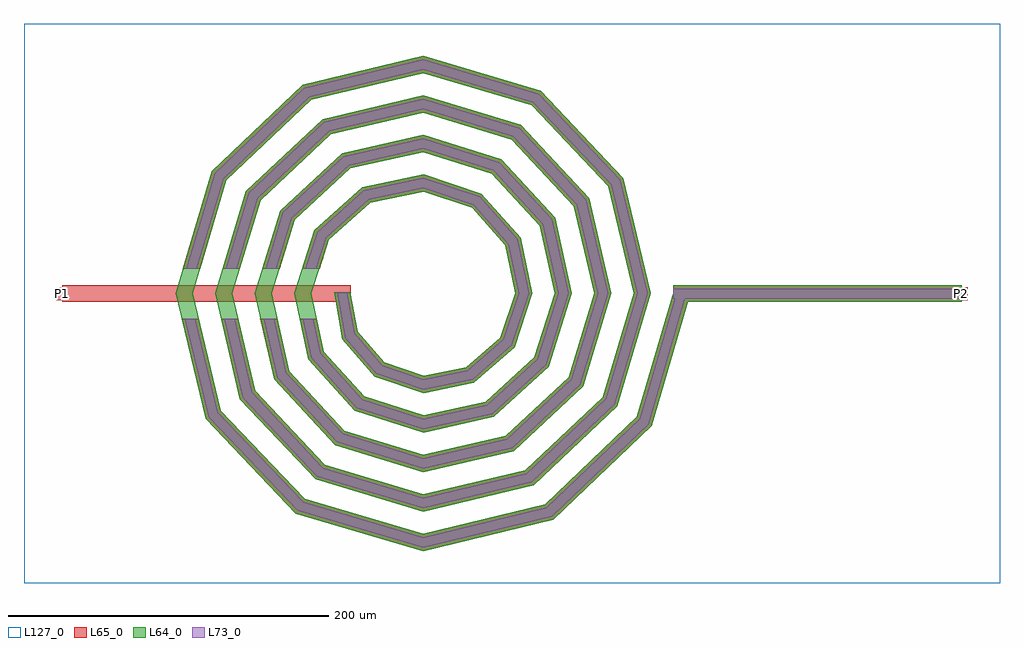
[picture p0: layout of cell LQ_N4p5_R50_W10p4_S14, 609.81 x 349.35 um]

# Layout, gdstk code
import gdstk
lib = gdstk.Library(unit=1e-6, precision=1e-09)
def R(c, l, rs):  # rectangles x0, y0, x1, y1
    for r in rs: c.add(gdstk.rectangle(r[:2], r[2:], *l))
def P(c, l, *ps):  # polygons
    for p in ps: c.add(gdstk.Polygon(p, *l))
L64_0 = (64, 0)
L65_0 = (65, 0)
L73_0 = (73, 0)
L127_0 = (127, 0)

lq_n4p5_r50_w10p4_s14 = lib.new_cell('LQ_N4p5_R50_W10p4_S14')
R(lq_n4p5_r50_w10p4_s14, L64_0, [(156.435,-5.2,336.435,5.2)])
P(lq_n4p5_r50_w10p4_s14, L64_0, [(-40.732,-23.969),(-24.331,-42.897),(0.364,-51.371),(27.018,-46.094),(48.22,-27.448),(57.539,0.328),(51.453,30.073),(30.559,53.546),(0.299,63.708),(-33.133,56.809),(-58.875,33.666),(-69.877,0.274),(-62.163,-36.198),(-36.77,-64.207),(0.254,-76.046),(39.265,-67.515),(69.541,-39.87),(82.216,0.236),(72.867,42.335),(42.969,74.875),(0.22,88.385),(-45.407,78.217),(-80.211,46.066),(-94.555,0.207),(-83.566,-48.481),(-49.162,-85.548),(0.195,-100.724),(51.556,-88.915),(90.886,-52.257),(106.894,0.184),(94.264,54.632),(55.35,96.224),(0.174,113.064),(-57.709,99.612),(-101.563,58.443),(-119.234,0.166),(-104.959,-60.786),(-61.534,-106.902),(0.158,-125.404),(63.865,-110.306),(112.241,-64.626),(131.573,0.151),(115.653,66.944),(67.717,117.581),(0.144,137.743),(-70.023,120.999),(-122.922,70.807),(-143.913,0.138),(-126.345,-73.103),(-73.897,-128.262),(0.133,-150.083),(76.183,-131.691),(133.603,-76.986),(156.646,1.465),(166.625,-1.465),(142.795,-82.592),(81.338,-141.144),(0.133,-160.847),(-79.512,-137.449),(-135.804,-78.249),(-154.677,0.138),(-132.103,76.432),(-75.159,130.463),(0.144,148.507),(73.352,126.756),(125.123,72.068),(142.337,0.151),(121.409,-70.273),(68.977,-119.782),(0.158,-136.166),(-67.194,-116.062),(-114.443,-65.885),(-129.996,0.166),(-110.714,64.116),(-62.793,109.103),(0.174,123.826),(61.038,105.366),(103.764,59.7),(117.656,0.184),(100.018,-57.962),(56.606,-98.426),(0.195,-111.485),(-54.886,-94.669),(-93.088,-53.51),(-105.315,0.207),(-89.318,51.812),(-50.414,87.75),(0.22,99.144),(48.739,83.968),(82.414,47.316),(92.974,0.236),(78.615,-45.667),(44.216,-77.078),(0.254,-86.803),(-42.598,-73.262),(-71.744,-41.113),(-80.632,0.274),(-67.907,39.532),(-38.008,66.411),(0.299,74.461),(36.468,62.549),(61.081,34.898),(68.289,0.328),(57.189,-33.41),(31.783,-55.752),(0.364,-62.117),(-30.356,-51.825),(-50.427,-28.662),(-55.683,0.97),(-45.465,0.97)])
R(lq_n4p5_r50_w10p4_s14, L65_0, [(-225.374,-5.2,-45.374,5.2), (156.435,-5.2,336.435,5.2), (-229.374,-4,-221.374,4), (332.435,-4,340.435,4)])
P(lq_n4p5_r50_w10p4_s14, L65_0, [(-126.345,-73.103),(-73.897,-128.262),(0.133,-150.083),(76.184,-131.691),(133.603,-76.986),(156.646,1.466),(166.625,-1.466),(142.795,-82.592),(81.338,-141.145),(0.133,-160.847),(-79.512,-137.449),(-135.804,-78.249),(-150.888,-15.6),(-140.191,-15.6)],
  [(-104.959,-60.786),(-61.535,-106.902),(0.158,-125.404),(63.865,-110.306),(112.241,-64.626),(131.573,0.151),(115.653,66.944),(67.717,117.581),(0.144,137.743),(-70.023,120.999),(-122.922,70.807),(-139.257,15.6),(-150.102,15.6),(-132.103,76.432),(-75.159,130.463),(0.144,148.507),(73.352,126.756),(125.123,72.068),(142.337,0.151),(121.409,-70.273),(68.977,-119.783),(0.158,-136.166),(-67.194,-116.062),(-114.443,-65.885),(-126.284,-15.6),(-115.599,-15.6)],
  [(-83.567,-48.481),(-49.162,-85.548),(0.195,-100.724),(51.556,-88.915),(90.886,-52.257),(106.894,0.184),(94.264,54.632),(55.35,96.224),(0.174,113.064),(-57.709,99.612),(-101.563,58.443),(-114.48,15.6),(-125.343,15.6),(-110.715,64.116),(-62.793,109.103),(0.174,123.826),(61.038,105.366),(103.764,59.7),(117.656,0.184),(100.018,-57.962),(56.606,-98.426),(0.195,-111.485),(-54.886,-94.669),(-93.088,-53.51),(-101.717,-15.6),(-91.051,-15.6)],
  [(-62.163,-36.198),(-36.77,-64.207),(0.254,-76.046),(39.266,-67.515),(69.541,-39.871),(82.216,0.236),(72.867,42.336),(42.969,74.875),(0.22,88.385),(-45.407,78.217),(-80.211,46.066),(-89.655,15.6),(-100.543,15.6),(-89.319,51.812),(-50.414,87.75),(0.22,99.144),(48.739,83.968),(82.414,47.316),(92.974,0.236),(78.616,-45.667),(44.216,-77.079),(0.254,-86.803),(-42.598,-73.262),(-71.744,-41.113),(-77.223,-15.6),(-66.586,-15.6)],
  [(-24.331,-42.897),(0.364,-51.371),(27.018,-46.094),(48.22,-27.448),(57.54,0.328),(51.453,30.073),(30.559,53.546),(0.299,63.708),(-33.133,56.809),(-58.875,33.666),(-64.731,15.6),(-75.664,15.6),(-67.907,39.532),(-38.008,66.411),(0.299,74.461),(36.468,62.549),(61.081,34.898),(68.289,0.328),(57.189,-33.41),(31.784,-55.752),(0.364,-62.117),(-30.357,-51.825),(-50.427,-28.662),(-55.683,0.97),(-45.465,0.97),(-40.732,-23.969)])
R(lq_n4p5_r50_w10p4_s14, L73_0, [(156.435,-3.2,336.435,3.2)])
P(lq_n4p5_r50_w10p4_s14, L73_0, [(-128.164,-74.093),(-74.977,-130.029),(0.082,-152.153),(77.175,-133.509),(135.371,-78.064),(158.565,0.902),(164.706,0.902),(141.028,-81.514),(80.347,-139.327),(0.082,-158.777),(-78.432,-135.683),(-133.985,-77.259),(-148.831,-15.6),(-142.248,-15.6)],
  [(-106.783,-61.767),(-62.623,-108.663),(0.097,-127.473),(64.848,-112.128),(114.005,-65.712),(133.643,0.093),(117.474,67.929),(68.8,119.346),(0.089,139.813),(-71.011,122.819),(-124.687,71.889),(-141.342,15.6),(-148.017,15.6),(-130.337,75.35),(-74.171,128.643),(0.089,146.437),(72.268,124.992),(123.302,71.083),(140.267,0.093),(119.646,-69.187),(67.994,-117.96),(0.097,-134.097),(-66.106,-114.301),(-112.619,-64.905),(-124.229,-15.6),(-117.654,-15.6)],
  [(-85.398,-49.448),(-50.263,-87.302),(0.12,-102.794),(52.527,-90.744),(92.642,-53.354),(108.964,0.113),(96.091,55.606),(56.444,97.982),(0.107,115.134),(-58.686,101.437),(-103.323,59.534),(-116.569,15.6),(-123.254,15.6),(-108.955,63.025),(-61.815,107.278),(0.107,121.756),(59.944,103.608),(101.937,58.725),(115.586,0.113),(98.262,-56.865),(55.635,-96.597),(0.12,-109.416),(-53.785,-92.915),(-91.257,-52.543),(-99.666,-15.6),(-93.102,-15.6)],
  [(-64.005,-37.143),(-37.891,-65.948),(0.156,-78.115),(40.218,-69.354),(71.286,-40.985),(84.284,0.145),(74.703,43.293),(44.079,76.624),(0.136,90.454),(-46.37,80.05),(-81.963,47.171),(-91.749,15.6),(-98.449,15.6),(-87.567,50.707),(-49.451,85.917),(0.136,97.075),(47.629,82.219),(80.578,46.358),(90.905,0.145),(76.87,-44.553),(43.264,-75.239),(0.156,-84.734),(-41.477,-71.521),(-69.902,-40.168),(-75.177,-15.6),(-68.632,-15.6)],
  [(-25.49,-44.614),(0.224,-53.438),(27.934,-47.951),(49.944,-28.595),(59.607,0.202),(53.304,31.001),(31.696,55.277),(0.184,65.776),(-34.071,58.655),(-60.612,34.794),(-66.834,15.6),(-73.562,15.6),(-66.17,38.404),(-37.07,64.565),(0.184,72.393),(35.332,60.818),(59.229,33.97),(66.222,0.202),(55.464,-32.263),(30.867,-53.895),(0.224,-60.051),(-29.198,-50.108),(-48.563,-27.759),(-53.718,0.597),(-47.43,0.597),(-42.597,-24.872)])
R(lq_n4p5_r50_w10p4_s14, L127_0, [(-249.374,-180.847,360.435,168.507)])
lq_n4p5_r50_w10p4_s14.add(gdstk.Label('P2', (336.435,0), layer=65, texttype=0))
lq_n4p5_r50_w10p4_s14.add(gdstk.Label('P1', (-225.374,0), layer=65, texttype=0))
lq_n4p5_r50_w10p4_s14.add(gdstk.Label('P2', (340.435,0), layer=145, texttype=0))
lq_n4p5_r50_w10p4_s14.add(gdstk.Label('P1', (-229.374,0), layer=145, texttype=0))

lib.write_gds('LQ_N4p5_R50_W10p4_S14.gds')
